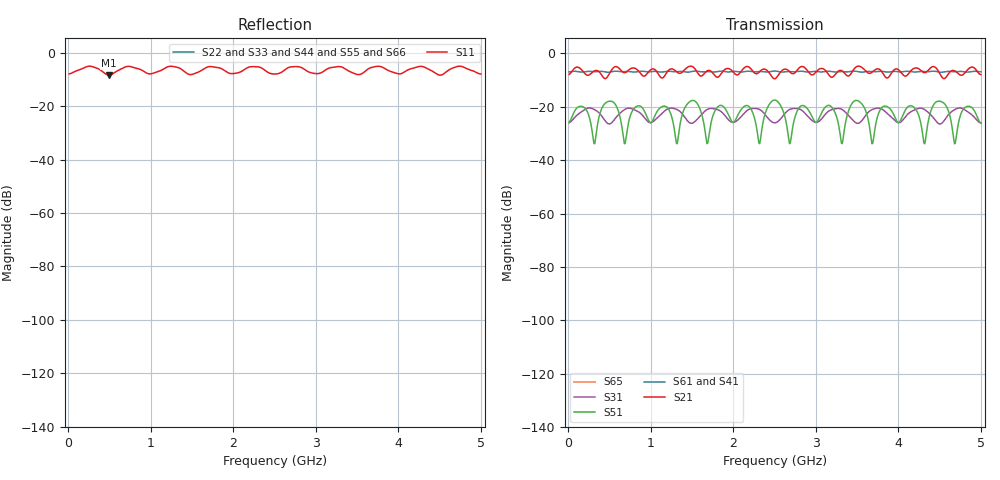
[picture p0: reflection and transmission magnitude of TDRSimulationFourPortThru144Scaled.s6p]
# MHz MA S R 50.0
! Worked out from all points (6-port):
!   500 points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, 10 MHz to 5 GHz, reference 50 ohm
!   strongest paths, dB at 10 MHz, 1.26 GHz, 2.51 GHz, 3.76 GHz, 5 GHz:
!     S21: -7.9, -5.8, -9.5, -5.9, -8.0
!     S61: -6.9, -6.8, -6.6, -6.7, -6.9
!     S41: -6.9, -6.7, -6.9, -6.7, -6.9
!     S51: -25.9, -24.6, -17.5, -22.5, -26.0
!     S31: -26.0, -20.5, -26.0, -20.5, -26.0
!     S65: -, -, -, -, -
!   lowest |S11| = -8.4 dB at 490 MHz (marker M1), VSWR 2.23, Z = 107 - j19.1 ohm
!   |S11| at or under -10 dB: nowhere
